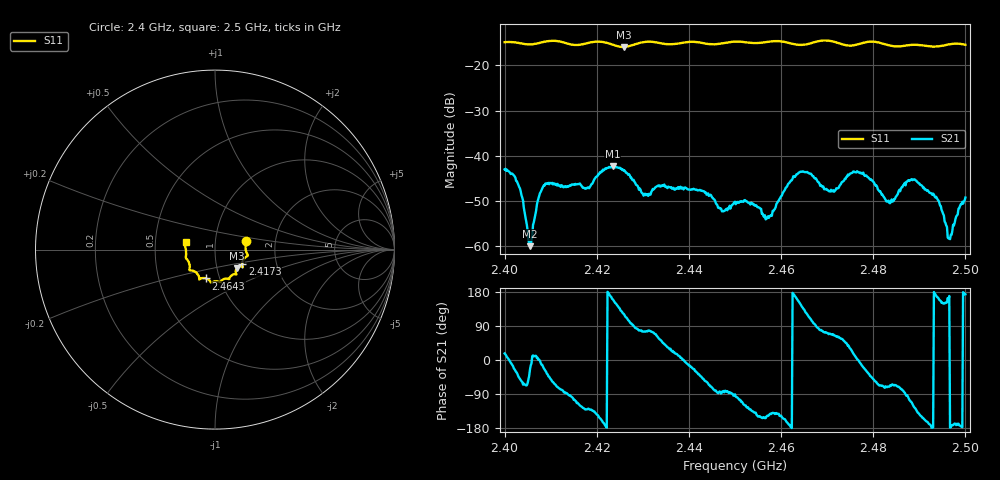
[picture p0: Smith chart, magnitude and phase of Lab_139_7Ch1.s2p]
# Hz S RI R 50
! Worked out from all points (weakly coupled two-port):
!   601 points, 2.4 GHz to 2.5 GHz, reference 50 ohm
!   highest |S21| = -42.36 dB at 2.4235 GHz (marker M1); lowest = -60.0 dB at 2.4055 GHz (marker M2)
!   lowest |S11| = -15.9 dB at 2.4258 GHz (marker M3), VSWR 1.38, Z = 62.3 - j13.2 ohm
!   |S11| at or under -10 dB: start of sweep to end of sweep
!   S12 and S22 are empty: the file has one direction only
!   S11 on the Smith chart (normalised r, x): 2.4 GHz: 1.41, +0.14; 2.4173 GHz: 1.34, -0.23; 2.4643 GHz: 0.86, -0.28; 2.5 GHz: 0.72, +0.06
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2.4e9  0.1734 0.0497  0.00676 0.0021  0 0  0 0
2.403167e9  0.1733 0.0334  0.00307 -0.0033  0 0  0 0
2.4055e9  0.1701 0.0072  0.000904 -0.00043  0 0  0 0
2.408667e9  0.1807 -0.0262  0.00424 -0.00197  0 0  0 0
2.416667e9  0.1527 -0.0746  -0.00252 -0.00395  0 0  0 0
2.417333e9  0.1524 -0.0819  -0.00275 -0.0034  0 0  0 0
2.4235e9  0.1408 -0.0934  -0.00715 0.00263  0 0  0 0
2.425833e9  0.1215 -0.1035  -0.00362 0.0058  0 0  0 0
2.430167e9  0.1184 -0.1367  0.000948 0.00349  0 0  0 0
2.433333e9  0.113 -0.137  0.00243 0.00401  0 0  0 0
2.4475e9  0.0376 -0.1719  0.000344 -0.0024  0 0  0 0
2.45e9  0.0295 -0.1808  -3.4e-05 -0.0031  0 0  0 0
2.457167e9  -0.0147 -0.1816  -0.00181 -0.00115  0 0  0 0
2.464333e9  -0.0505 -0.1604  -0.00544 0.00382  0 0  0 0
2.466667e9  -0.0763 -0.1596  -0.00138 0.00597  0 0  0 0
2.471e9  -0.0871 -0.1631  0.00153 0.00374  0 0  0 0
2.477333e9  -0.1299 -0.1164  0.00638 -0.00118  0 0  0 0
2.483333e9  -0.1408 -0.0894  0.00108 -0.003  0 0  0 0
2.489167e9  -0.1627 -0.0454  -0.00332 -0.00422  0 0  0 0
2.493833e9  -0.1618 -0.00334  -0.00329 0.000805  0 0  0 0
2.496667e9  -0.1696 0.0246  -0.0012 -3.22e-05  0 0  0 0
2.5e9  -0.1636 0.0421  -0.00343 0.000391  0 0  0 0
